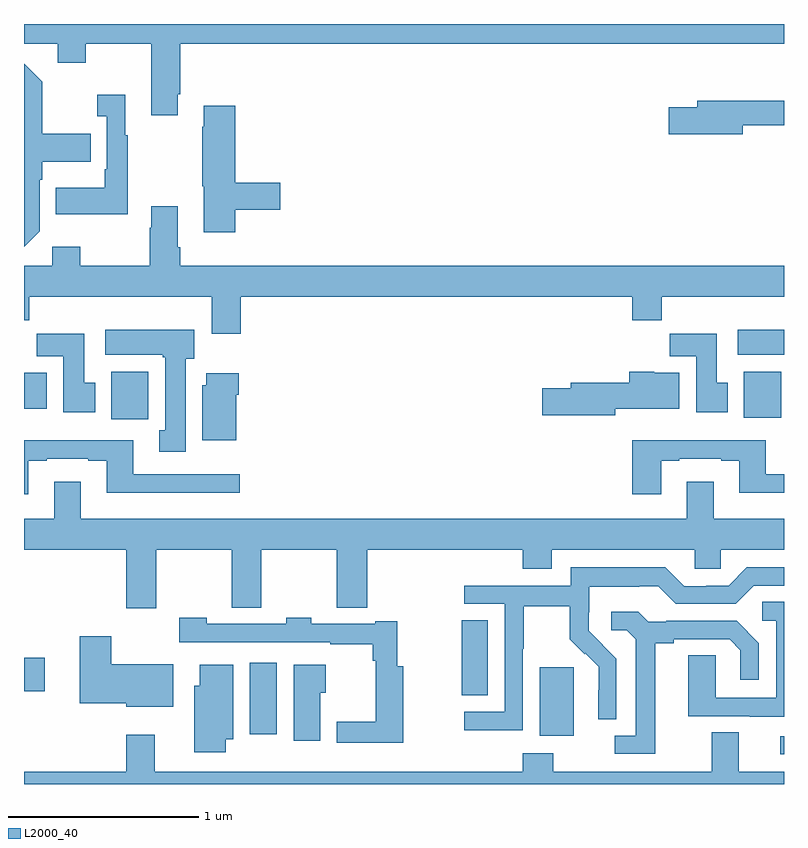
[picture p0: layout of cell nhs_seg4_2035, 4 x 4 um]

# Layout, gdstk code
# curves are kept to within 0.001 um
import gdstk
lib = gdstk.Library(unit=1e-6, precision=1e-09)
def R(c, l, rs):  # rectangles x0, y0, x1, y1
    for r in rs: c.add(gdstk.rectangle(r[:2], r[2:], *l))
def P(c, l, *ps):  # polygons
    for p in ps: c.add(gdstk.Polygon(p, *l))
L2000_40 = (2000, 40)

nhs_seg4_2035 = lib.new_cell('nhs_seg4_2035')
R(nhs_seg4_2035, L2000_40, [(218.979,817.056,219,817.152), (217.715,817.154,217.894,817.515), (216.188,817.161,216.331,817.537), (217.303,817.366,217.441,817.763), (215,817.387,215.11,817.565), (215.459,818.82,215.655,819.07), (218.789,818.828,218.986,819.07), (215,818.876,215.119,819.064), (218.757,819.158,219,819.292)])
P(nhs_seg4_2035, L2000_40, [(215,820.796),(215.177,820.796),(215.177,820.697),(215.325,820.697),(215.325,820.796),(215.669,820.796),(215.669,820.419),(215.809,820.419),(215.809,820.531),(215.822,820.531),(215.822,820.796),(219,820.796),(219,820.9),(215,820.9)],
  [(215.082,819.81),(215.082,820.079),(215.095,820.079),(215.095,820.175),(215.351,820.175),(215.351,820.323),(215.095,820.323),(215.095,820.595),(215,820.69),(215,819.728)],
  [(215.545,820.315),(215.533,820.315),(215.533,820.528),(215.385,820.528),(215.385,820.415),(215.436,820.415),(215.436,820.135),(215.424,820.135),(215.424,820.039),(215.167,820.039),(215.167,819.899),(215.545,819.899)],
  [(218.782,820.366),(219,820.366),(219,820.495),(218.543,820.495),(218.543,820.461),(218.394,820.461),(218.394,820.319),(218.782,820.319)],
  [(216.113,819.922),(216.349,819.922),(216.349,820.064),(216.113,820.064),(216.113,820.471),(215.945,820.471),(215.945,820.358),(215.938,820.358),(215.938,820.047),(215.945,820.047),(215.945,819.804),(216.113,819.804)],
  [(216.14,819.464),(218.201,819.464),(218.201,819.34),(218.357,819.34),(218.357,819.464),(219,819.464),(219,819.628),(215.822,819.628),(215.822,819.724),(215.809,819.724),(215.809,819.94),(215.669,819.94),(215.669,819.827),(215.662,819.827),(215.662,819.628),(215.295,819.628),(215.295,819.727),(215.148,819.727),(215.148,819.628),(215,819.628),(215,819.34),(215.027,819.34),(215.027,819.464),(215.987,819.464),(215.987,819.27),(216.14,819.27)],
  [(215.851,819.138),(215.896,819.138),(215.896,819.292),(215.427,819.292),(215.427,819.158),(215.731,819.158),(215.731,819.145),(215.744,819.145),(215.744,818.761),(215.711,818.761),(215.711,818.649),(215.851,818.649)],
  [(215.374,819.012),(215.317,819.012),(215.317,819.271),(215.068,819.271),(215.068,819.152),(215.207,819.152),(215.207,818.856),(215.374,818.856)],
  [(218.704,819.012),(218.647,819.012),(218.647,819.271),(218.398,819.271),(218.398,819.152),(218.537,819.152),(218.537,818.856),(218.704,818.856)],
  [(218.112,818.876),(218.449,818.876),(218.449,819.064),(218.316,819.064),(218.316,819.07),(218.186,819.07),(218.186,819.012),(217.877,819.012),(217.877,818.982),(217.728,818.982),(217.728,818.84),(218.112,818.84)],
  [(216.118,818.948),(216.131,818.948),(216.131,819.061),(215.96,819.061),(215.96,819),(215.939,819),(215.939,818.708),(216.118,818.708)],
  [(218.353,818.601),(218.449,818.601),(218.449,818.613),(218.669,818.613),(218.669,818.601),(218.765,818.601),(218.765,818.432),(219,818.432),(219,818.529),(218.905,818.529),(218.905,818.71),(218.201,818.71),(218.201,818.424),(218.353,818.424)],
  [(215.023,818.601),(215.119,818.601),(215.119,818.613),(215.339,818.613),(215.339,818.601),(215.435,818.601),(215.435,818.432),(216.136,818.432),(216.136,818.529),(215.575,818.529),(215.575,818.71),(215,818.71),(215,818.424),(215.023,818.424)],
  [(215.697,818.132),(216.094,818.132),(216.094,817.828),(216.248,817.828),(216.248,818.132),(216.646,818.132),(216.646,817.828),(216.806,817.828),(216.806,818.132),(217.625,818.132),(217.625,818.033),(217.777,818.033),(217.777,818.132),(218.529,818.132),(218.529,818.034),(218.667,818.034),(218.667,818.132),(219,818.132),(219,818.296),(218.629,818.296),(218.629,818.491),(218.489,818.491),(218.489,818.296),(215.299,818.296),(215.299,818.491),(215.159,818.491),(215.159,818.296),(215,818.296),(215,818.132),(215.537,818.132),(215.537,817.824),(215.697,817.824)],
  [(217.626,817.612),(217.629,817.612),(217.629,817.836),(217.873,817.836),(217.873,817.661),(217.95,817.584),(217.953,817.587),(218.024,817.517),(218.024,817.394),(218.022,817.394),(218.022,817.24),(218.118,817.24),(218.118,817.558),(217.972,817.706),(217.972,817.803),(217.974,817.803),(217.974,817.937),(218.237,817.937),(218.237,817.941),(218.337,817.941),(218.43,817.848),(218.745,817.848),(218.841,817.944),(219,817.944),(219,818.04),(218.805,818.04),(218.709,817.944),(218.591,817.944),(218.591,817.941),(218.475,817.941),(218.375,818.041),(217.878,818.041),(217.878,817.944),(217.317,817.944),(217.317,817.848),(217.53,817.848),(217.53,817.281),(217.317,817.281),(217.317,817.183),(217.626,817.183)],
  [(219,817.859),(218.886,817.859),(218.886,817.758),(218.958,817.758),(218.958,817.353),(218.64,817.353),(218.64,817.577),(218.495,817.577),(218.495,817.257),(218.819,817.257),(218.819,817.253),(219,817.253)],
  [(218.323,817.64),(218.419,817.64),(218.419,817.662),(218.714,817.662),(218.771,817.605),(218.771,817.449),(218.868,817.449),(218.868,817.642),(218.752,817.758),(218.38,817.758),(218.38,817.755),(218.286,817.755),(218.234,817.807),(218.091,817.807),(218.091,817.71),(218.172,817.71),(218.219,817.663),(218.219,817.155),(218.109,817.155),(218.109,817.059),(218.323,817.059)],
  [(216.996,817.519),(216.964,817.519),(216.964,817.756),(216.848,817.756),(216.848,817.743),(216.513,817.743),(216.513,817.776),(216.381,817.776),(216.381,817.743),(215.961,817.743),(215.961,817.776),(215.817,817.776),(215.817,817.647),(216.613,817.647),(216.613,817.635),(216.835,817.635),(216.835,817.55),(216.85,817.55),(216.85,817.228),(216.645,817.228),(216.645,817.118),(216.996,817.118)],
  [(215.785,817.531),(215.46,817.531),(215.46,817.678),(215.294,817.678),(215.294,817.325),(215.538,817.325),(215.538,817.307),(215.785,817.307)],
  [(216.559,817.381),(216.589,817.381),(216.589,817.528),(216.419,817.528),(216.419,817.128),(216.559,817.128)],
  [(216.063,817.136),(216.1,817.136),(216.1,817.528),(215.924,817.528),(215.924,817.416),(215.897,817.416),(215.897,817.068),(216.063,817.068)],
  [(219,816.964),(218.761,816.964),(218.761,817.172),(218.621,817.172),(218.621,816.964),(217.785,816.964),(217.785,817.063),(217.625,817.063),(217.625,816.964),(215.689,816.964),(215.689,817.159),(215.537,817.159),(215.537,816.964),(215,816.964),(215,816.9),(219,816.9)])

lib.write_gds('nhs_seg4_2035.gds')
